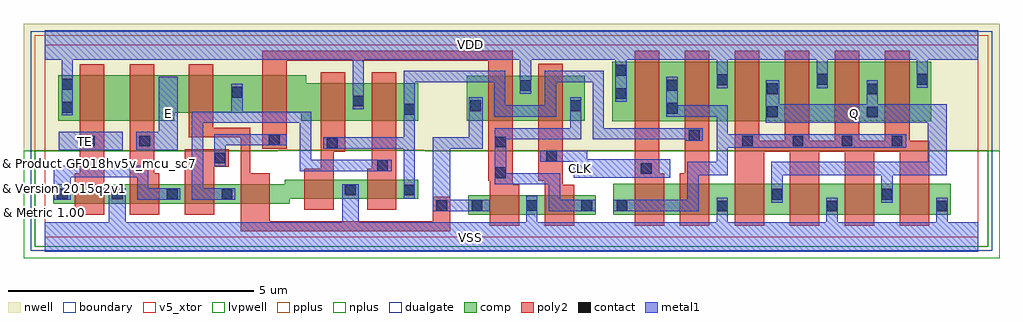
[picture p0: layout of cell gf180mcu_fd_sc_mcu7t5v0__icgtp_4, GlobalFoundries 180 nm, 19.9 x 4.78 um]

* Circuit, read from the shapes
.subckt gf180mcu_fd_sc_mcu7t5v0__icgtp_4 CLK E Q TE VDD VSS
XM1 VSS TE n1 VSUBS nfet_05v0 w=0.395u l=0.6u
XM2 n1 E VSS VSUBS nfet_05v0 w=0.395u l=0.6u
XM3 n2 n3 n1 VSUBS nfet_05v0 w=0.395u l=0.6u
XM4 n4 n5 n2 VSUBS nfet_05v0 w=0.395u l=0.6u
XM5 VSS n6 n4 VSUBS nfet_05v0 w=0.395u l=0.6u
XM6 n6 n2 VSS VSUBS nfet_05v0 w=0.395u l=0.6u
XM7 VSS n3 n5 VSUBS nfet_05v0 w=0.395u l=0.6u
XM8 n3 CLK VSS VSUBS nfet_05v0 w=0.395u l=0.6u
XM9 n7 CLK n8 VSUBS nfet_05v0 w=0.63u l=0.6u
XM10 VSS n6 n7 VSUBS nfet_05v0 w=0.63u l=0.6u
XM11 Q n8 VSS VSUBS nfet_05v0 w=0.63u l=0.6u m=4
XM12 n9 TE VDD n10 pfet_05v0 w=0.925u l=0.5u
XM13 n11 E n9 n10 pfet_05v0 w=0.925u l=0.5u
XM14 n2 n5 n11 n10 pfet_05v0 w=0.765u l=0.5u
XM15 n12 n3 n2 n10 pfet_05v0 w=0.765u l=0.5u
XM16 VDD n6 n12 n10 pfet_05v0 w=0.765u l=0.5u
XM17 n6 n2 VDD n10 pfet_05v0 w=0.765u l=0.5u
XM18 VDD n3 n5 n10 pfet_05v0 w=0.92u l=0.5u
XM19 n3 CLK VDD n10 pfet_05v0 w=0.92u l=0.5u
XM20 n8 CLK VDD n10 pfet_05v0 w=1.22u l=0.5u
XM21 VDD n6 n8 n10 pfet_05v0 w=1.22u l=0.5u
XM22 Q n8 VDD n10 pfet_05v0 w=1.22u l=0.5u m=4
.ends

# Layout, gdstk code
import gdstk
lib = gdstk.Library(unit=1e-6, precision=1e-09)
def R(c, l, rs):  # rectangles x0, y0, x1, y1
    for r in rs: c.add(gdstk.rectangle(r[:2], r[2:], *l))
def A(c, l, x, y, w, h, nx, ny, dx, dy):  # array of equal rectangles
    R(c, l, [(x+i*dx, y+j*dy, x+i*dx+w, y+j*dy+h) for i in range(nx) for j in range(ny)])
def P(c, l, *ps):  # polygons
    for p in ps: c.add(gdstk.Polygon(p, *l))
boundary = (0, 0)
nwell = (21, 0)
comp = (22, 0)
poly2 = (30, 0)
pplus = (31, 0)
nplus = (32, 0)
contact = (33, 0)
metal1 = (34, 0)
dualgate = (55, 0)
v5_xtor = (112, 1)
lvpwell = (204, 0)

gf180mcu_fd_sc_mcu7t5v0_ = lib.new_cell('gf180mcu_fd_sc_mcu7t5v0__icgtp_4')
R(gf180mcu_fd_sc_mcu7t5v0_, boundary, [(0,0,19.04,3.92)])
P(gf180mcu_fd_sc_mcu7t5v0_, nwell, [(-0.43,1.76),(-0.43,4.35),(19.47,4.35),(19.47,1.76),(7.75,1.76),(7.75,1.775),(4.76,1.775),(4.76,1.76)])
R(gf180mcu_fd_sc_mcu7t5v0_, comp, [(8.635,0.455,11.235,0.85), (11.595,0.455,18.475,1.085), (11.57,2.36,18.075,3.58), (8.605,2.375,11.01,3.295)])
P(gf180mcu_fd_sc_mcu7t5v0_, comp, [(0.18,0.685),(0.18,1.08),(4.895,1.08),(4.895,1.175),(7.615,1.175),(7.615,0.78),(4.995,0.78),(4.995,0.685)],
  [(0.28,2.375),(0.28,3.3),(5.335,3.3),(5.335,3.14),(7.615,3.14),(7.615,2.375),(5.235,2.375),(5.235,2.535),(2.64,2.535),(2.64,2.375)])
P(gf180mcu_fd_sc_mcu7t5v0_, poly2, [(0.62,0.46),(0.62,1.3),(0.72,1.3),(0.72,3.52),(1.22,3.52),(1.22,0.46)],
  [(1.74,0.46),(1.74,3.52),(2.24,3.52),(2.24,1.3),(2.34,1.3),(2.34,0.46)],
  [(2.86,0.46),(2.86,1.795),(3.755,1.795),(3.755,1.435),(3.46,1.435),(3.46,0.46)],
  [(5.295,0.56),(5.295,1.395),(5.635,1.395),(5.635,3.36),(6.135,3.36),(6.135,1.74),(5.895,1.74),(5.895,0.56)],
  [(6.575,0.56),(6.575,1.395),(6.675,1.395),(6.675,3.36),(7.175,3.36),(7.175,0.56)],
  [(3.995,0.12),(3.995,2.035),(2.94,2.035),(2.94,3.52),(3.44,3.52),(3.44,2.235),(4.195,2.235),(4.195,1.3),(4.595,1.3),(4.595,0.32),(7.915,0.32),(7.915,0.825),(8.275,0.825),(8.275,0.12)],
  [(9.075,0.23),(9.075,1.15),(9.045,1.15),(9.045,3.6),(4.935,3.6),(4.935,1.805),(4.435,1.805),(4.435,3.8),(9.545,3.8),(9.545,1.07),(9.675,1.07),(9.675,0.23)],
  [(10.195,0.23),(10.195,1.15),(10.07,1.15),(10.07,3.53),(10.57,3.53),(10.57,1.07),(10.795,1.07),(10.795,0.23)],
  [(12.035,0.235),(12.035,3.8),(12.535,3.8),(12.535,1.305),(12.635,1.305),(12.635,0.235)],
  [(12.955,0.235),(12.955,1.305),(13.055,1.305),(13.055,3.8),(13.555,3.8),(13.555,0.235)],
  [(14.075,0.235),(14.075,3.8),(14.575,3.8),(14.575,1.97),(15.095,1.97),(15.095,3.8),(15.595,3.8),(15.595,1.97),(16.115,1.97),(16.115,3.8),(16.615,3.8),(16.615,1.97),(17.135,1.97),(17.135,3.8),(17.635,3.8),(17.635,1.97),(18.035,1.97),(18.035,0.235),(17.435,0.235),(17.435,1.74),(16.915,1.74),(16.915,0.235),(16.315,0.235),(16.315,1.74),(15.795,1.74),(15.795,0.235),(15.195,0.235),(15.195,1.74),(14.675,1.74),(14.675,0.235)])
P(gf180mcu_fd_sc_mcu7t5v0_, pplus, [(-0.2,1.76),(-0.2,4.12),(19.24,4.12),(19.24,1.76),(7.75,1.76),(7.75,1.775),(4.76,1.775),(4.76,1.76)])
P(gf180mcu_fd_sc_mcu7t5v0_, nplus, [(-0.2,-0.2),(-0.2,1.76),(4.76,1.76),(4.76,1.775),(7.75,1.775),(7.75,1.76),(19.24,1.76),(19.24,-0.2)])
A(gf180mcu_fd_sc_mcu7t5v0_, contact, 13.705, 0.525, 0.22, 0.22, 3, 1, 2.24, 0)
A(gf180mcu_fd_sc_mcu7t5v0_, contact, 8.705, 0.535, 0.22, 0.22, 3, 1, 1.12, 0)
A(gf180mcu_fd_sc_mcu7t5v0_, contact, 0.25, 0.77, 0.22, 0.22, 4, 1, 1.12, 0)
R(gf180mcu_fd_sc_mcu7t5v0_, contact, [(7.985,0.535,8.205,0.755), (11.665,0.535,11.885,0.755), (14.825,0.765,15.045,0.985), (17.065,0.765,17.285,0.985), (6.125,0.85,6.345,1.07), (7.325,0.85,7.545,1.07), (9.185,1.205,9.405,1.425), (12.16,1.29,12.38,1.51), (6.78,1.345,7,1.565), (3.465,1.505,3.685,1.725), (10.225,1.54,10.445,1.76), (5.755,1.81,5.975,2.03), (9.185,1.83,9.405,2.05), (0.8,1.85,1.02,2.07), (1.93,1.85,2.15,2.07), (14.22,1.85,14.44,2.07), (15.25,1.85,15.47,2.07), (16.25,1.85,16.47,2.07), (17.27,1.85,17.49,2.07), (4.57,1.875,4.79,2.095), (13.135,1.97,13.355,2.19), (16.765,2.44,16.985,2.66), (14.725,2.445,14.945,2.665), (7.325,2.495,7.545,2.715), (12.685,2.515,12.905,2.735), (0.35,2.54,0.57,2.76), (8.675,2.57,8.895,2.79), (10.72,2.57,10.94,2.79), (6.285,2.665,6.505,2.885), (11.64,2.82,11.86,3.04), (3.815,2.845,4.035,3.065), (16.765,2.91,16.985,3.13), (14.725,2.915,14.945,3.135), (9.695,2.98,9.915,3.2), (12.685,2.985,12.905,3.205), (0.35,3.01,0.57,3.23), (13.705,3.1,13.925,3.32), (15.745,3.11,15.965,3.33), (17.785,3.11,18.005,3.33), (11.64,3.29,11.86,3.51)])
R(gf180mcu_fd_sc_mcu7t5v0_, metal1, [(0.29,1.77,1.59,2.15)])
P(gf180mcu_fd_sc_mcu7t5v0_, metal1, [(1.865,1.77),(1.865,2.15),(2.33,2.15),(2.33,3.27),(2.71,3.27),(2.71,1.77)],
  [(0.19,0.765),(0.19,1.46),(2.115,1.46),(2.115,0.995),(2.77,0.995),(2.77,0.765),(1.885,0.765),(1.885,1.225),(0.53,1.225),(0.53,0.765)],
  [(3.46,1.445),(3.46,2.1),(4.935,2.1),(4.935,1.87),(3.69,1.87),(3.69,1.445)],
  [(3,0.765),(3,2.56),(3.81,2.56),(3.81,3.125),(4.04,3.125),(4.04,2.56),(5.435,2.56),(5.435,1.575),(7.08,1.575),(7.08,1.34),(5.205,1.34),(5.205,2.33),(3.23,2.33),(3.23,0.995),(3.89,0.995),(3.89,0.765)],
  [(7.915,0.53),(7.915,2.035),(8.645,2.035),(8.645,2.85),(8.93,2.85),(8.93,1.805),(8.275,1.805),(8.275,0.76),(9.075,0.76),(9.075,0.53)],
  [(10.28,0.53),(10.28,1.075),(9.175,1.075),(9.175,2.225),(10.715,2.225),(10.715,2.85),(10.945,2.85),(10.945,1.995),(9.415,1.995),(9.415,1.305),(10.51,1.305),(10.51,0.76),(11.235,0.76),(11.235,0.53)],
  [(10.785,1.21),(10.785,1.535),(10.105,1.535),(10.105,1.765),(11.065,1.765),(11.065,1.59),(12.755,1.59),(12.755,1.21)],
  [(7.32,0.78),(7.32,1.805),(5.685,1.805),(5.685,2.035),(7.32,2.035),(7.32,3.39),(9.395,3.39),(9.395,2.69),(10.2,2.69),(10.2,3.39),(11.405,3.39),(11.405,2.225),(13.415,2.225),(13.415,1.965),(13.075,1.965),(13.075,1.995),(11.175,1.995),(11.175,3.16),(10.43,3.16),(10.43,2.455),(9.165,2.455),(9.165,3.16),(7.55,3.16),(7.55,0.78)],
  [(11.595,0.53),(11.595,0.76),(13.105,0.76),(13.105,1.535),(13.7,1.535),(13.7,2.455),(12.68,2.455),(12.68,3.265),(12.91,3.265),(12.91,2.685),(13.93,2.685),(13.93,2.095),(17.57,2.095),(17.57,1.825),(13.93,1.825),(13.93,1.265),(13.335,1.265),(13.335,0.53)],
  [(14.82,0.705),(14.82,1.535),(18.01,1.535),(18.01,2.33),(14.7,2.33),(14.7,3.195),(14.975,3.195),(14.975,2.71),(16.76,2.71),(16.76,3.195),(16.99,3.195),(16.99,2.71),(18.39,2.71),(18.39,1.265),(17.29,1.265),(17.29,0.705),(17.06,0.705),(17.06,1.265),(15.05,1.265),(15.05,0.705)],
  [(0,-0.3),(0,0.3),(1.31,0.3),(1.31,0.995),(1.65,0.995),(1.65,0.3),(6.065,0.3),(6.065,1.075),(6.405,1.075),(6.405,0.3),(9.82,0.3),(9.82,0.845),(10.05,0.845),(10.05,0.3),(13.7,0.3),(13.7,0.805),(13.93,0.805),(13.93,0.3),(15.94,0.3),(15.94,0.805),(16.17,0.805),(16.17,0.3),(18.18,0.3),(18.18,0.805),(18.41,0.805),(18.41,0.3),(19.04,0.3),(19.04,-0.3)],
  [(0.345,2.48),(0.345,3.62),(0,3.62),(0,4.22),(19.04,4.22),(19.04,3.62),(18.01,3.62),(18.01,3.045),(17.78,3.045),(17.78,3.62),(15.97,3.62),(15.97,3.04),(15.74,3.04),(15.74,3.62),(13.93,3.62),(13.93,3.04),(13.7,3.04),(13.7,3.62),(11.865,3.62),(11.865,2.76),(11.635,2.76),(11.635,3.62),(9.92,3.62),(9.92,2.92),(9.69,2.92),(9.69,3.62),(6.51,3.62),(6.51,2.605),(6.28,2.605),(6.28,3.62),(0.575,3.62),(0.575,2.48)])
R(gf180mcu_fd_sc_mcu7t5v0_, dualgate, [(-0.28,-0.28,19.32,4.2)])
R(gf180mcu_fd_sc_mcu7t5v0_, v5_xtor, [(0,0,19.04,3.92)])
P(gf180mcu_fd_sc_mcu7t5v0_, lvpwell, [(-0.43,-0.43),(-0.43,1.76),(4.76,1.76),(4.76,1.775),(7.75,1.775),(7.75,1.76),(19.47,1.76),(19.47,-0.43)])
gf180mcu_fd_sc_mcu7t5v0_.add(gdstk.Label('Q', (16.52,2.52), layer=34, texttype=10))
gf180mcu_fd_sc_mcu7t5v0_.add(gdstk.Label('TE', (0.84,1.96), layer=34, texttype=10))
gf180mcu_fd_sc_mcu7t5v0_.add(gdstk.Label('VDD', (8.68,3.92), layer=34, texttype=10))
gf180mcu_fd_sc_mcu7t5v0_.add(gdstk.Label('VSS', (8.68,0), layer=34, texttype=10))
gf180mcu_fd_sc_mcu7t5v0_.add(gdstk.Label('CLK', (10.92,1.4), layer=34, texttype=10))
gf180mcu_fd_sc_mcu7t5v0_.add(gdstk.Label('E', (2.52,2.52), layer=34, texttype=10))
gf180mcu_fd_sc_mcu7t5v0_.add(gdstk.Label('& Vendor GLOBALFOUNDRIES', (0,2), layer=63, texttype=63))
gf180mcu_fd_sc_mcu7t5v0_.add(gdstk.Label('& Product GF018hv5v_mcu_sc7', (0,1.5), layer=63, texttype=63))
gf180mcu_fd_sc_mcu7t5v0_.add(gdstk.Label('& Version 2015q2v1', (0,1), layer=63, texttype=63))
gf180mcu_fd_sc_mcu7t5v0_.add(gdstk.Label('& Metric 1.00', (0,0.5), layer=63, texttype=63))

lib.write_gds('gf180mcu_fd_sc_mcu7t5v0__icgtp_4.gds')
